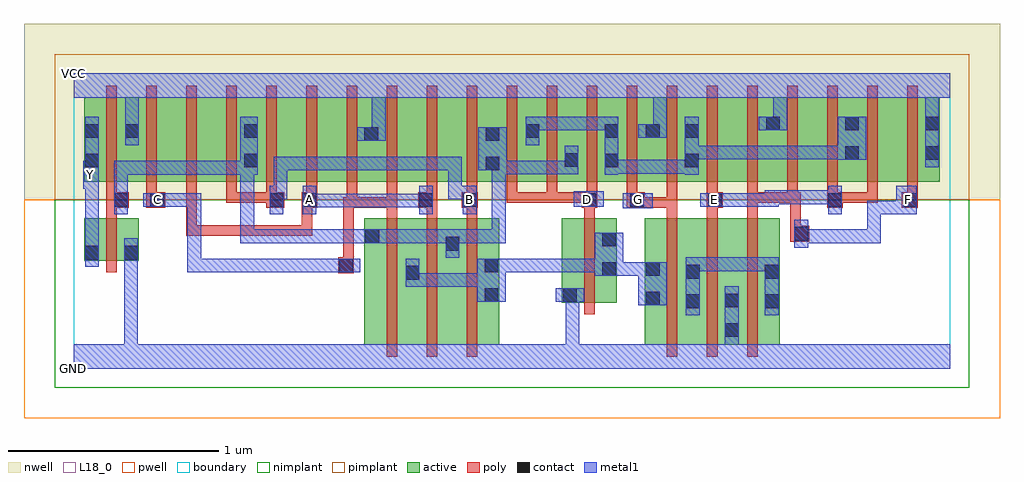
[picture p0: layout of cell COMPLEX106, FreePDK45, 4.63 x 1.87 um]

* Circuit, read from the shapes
.subckt COMPLEX106 A B C D E F G GND VCC Y
M1 GND n1 Y VSUBS nfet w=0.2u l=0.05u
M2 n2 C n1 VSUBS nfet w=0.6u l=0.05u
M3 n1 A n2 VSUBS nfet w=0.6u l=0.05u
M4 n2 B n1 VSUBS nfet w=0.6u l=0.05u
M5 n2 D GND VSUBS nfet w=0.4u l=0.05u
M6 n3 G n2 VSUBS nfet w=0.6u l=0.05u
M7 GND E n3 VSUBS nfet w=0.6u l=0.05u
M8 n3 F GND VSUBS nfet w=0.6u l=0.05u
M9 VCC n1 Y n4 pfet w=0.4u l=0.05u
M10 n5 C VCC n4 pfet w=0.4u l=0.05u
M11 n6 A n5 n4 pfet w=0.4u l=0.05u
M12 n1 B n6 n4 pfet w=0.4u l=0.05u
M13 n7 B n1 n4 pfet w=0.4u l=0.05u
M14 n8 A n7 n4 pfet w=0.4u l=0.05u
M15 VCC C n8 n4 pfet w=0.4u l=0.05u
M16 n9 C VCC n4 pfet w=0.4u l=0.05u
M17 n10 A n9 n4 pfet w=0.4u l=0.05u
M18 n1 B n10 n4 pfet w=0.4u l=0.05u
M19 n11 D n1 n4 pfet w=0.4u l=0.05u m=3
M20 VCC G n11 n4 pfet w=0.4u l=0.05u m=2
M21 n12 E n11 n4 pfet w=0.4u l=0.05u
M22 VCC F n12 n4 pfet w=0.4u l=0.05u
M23 n13 F VCC n4 pfet w=0.4u l=0.05u
M24 n11 E n13 n4 pfet w=0.4u l=0.05u
M25 n14 E n11 n4 pfet w=0.4u l=0.05u
M26 VCC F n14 n4 pfet w=0.4u l=0.05u
.ends

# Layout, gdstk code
import gdstk
lib = gdstk.Library(unit=1e-6, precision=1e-09)
def R(c, l, rs):  # rectangles x0, y0, x1, y1
    for r in rs: c.add(gdstk.rectangle(r[:2], r[2:], *l))
def A(c, l, x, y, w, h, nx, ny, dx, dy):  # array of equal rectangles
    R(c, l, [(x+i*dx, y+j*dy, x+i*dx+w, y+j*dy+h) for i in range(nx) for j in range(ny)])
active = (1, 0)
pwell = (2, 0)
nwell = (3, 0)
nimplant = (4, 0)
pimplant = (5, 0)
poly = (9, 0)
contact = (10, 0)
metal1 = (11, 0)
L18_0 = (18, 0)
boundary = (235, 0)

complex106 = lib.new_cell('COMPLEX106')
A(complex106, active, 0.465, 0.887, 0.19, 0.4, 3, 1, 0.57, 0)
R(complex106, active, [(1.38,0.112,1.645,0.712), (1.57,0.112,1.835,0.712), (1.76,0.112,2.02,0.712), (2.71,0.112,2.975,0.712), (2.9,0.112,3.16,0.712), (3.085,0.112,3.35,0.712), (1.38,0.145,1.455,0.712), (1.57,0.145,1.645,0.692), (1.76,0.145,1.835,0.692), (1.945,0.145,2.02,0.712), (2.71,0.145,2.785,0.712), (2.9,0.145,2.975,0.692), (3.085,0.145,3.16,0.692), (3.275,0.145,3.35,0.712), (2.317,0.312,2.392,0.712), (2.317,0.312,2.577,0.712), (2.502,0.312,2.577,0.712), (0.05,0.512,0.125,0.712), (0.05,0.512,0.31,0.712), (0.235,0.512,0.31,0.712), (0.05,0.887,0.315,1.287), (0.05,0.887,0.125,1.2), (0.24,0.887,0.465,1.287), (0.655,0.887,0.88,1.287), (0.805,0.887,1.035,1.287), (1.225,0.887,1.45,1.287), (1.375,0.887,1.605,1.287), (1.795,0.887,2.025,1.287), (1.95,0.887,2.215,1.287), (2.14,0.887,2.4,1.287), (2.325,0.887,2.59,1.287), (2.515,0.887,2.785,1.287), (2.71,0.887,2.97,1.287), (2.895,0.887,3.125,1.287), (3.125,0.887,3.355,1.287), (3.28,0.887,3.505,1.287), (3.505,0.887,3.73,1.287), (3.655,0.887,3.885,1.287), (3.885,0.887,4.11,1.287), (4.035,0.887,4.11,1.255), (0.24,0.907,0.315,1.255), (0.805,0.907,0.88,1.2), (1.375,0.907,1.45,1.255), (1.95,0.907,2.025,1.2), (2.14,0.907,2.215,1.2), (2.325,0.907,2.4,1.07), (2.515,0.907,2.59,1.2), (2.71,0.907,2.785,1.287), (2.895,0.907,2.97,1.2), (3.28,0.907,3.355,1.255), (3.655,0.907,3.73,1.2)])
R(complex106, pwell, [(-0.235,-0.235,4.395,0.8)])
R(complex106, nwell, [(-0.235,0.8,4.395,1.635)])
R(complex106, nimplant, [(-0.09,-0.09,4.25,0.8)])
R(complex106, pimplant, [(-0.09,0.8,4.25,1.49)])
A(complex106, poly, 1.485, 0.057, 0.05, 0.71, 3, 1, 0.19, 0)
A(complex106, poly, 2.815, 0.057, 0.05, 0.71, 3, 1, 0.19, 0)
A(complex106, poly, 1.485, 0.717, 0.05, 0.095, 3, 1, 0.19, 0)
A(complex106, poly, 0.725, 0.787, 0.05, 0.095, 3, 1, 0.19, 0)
A(complex106, poly, 1.675, 0.787, 0.05, 0.095, 6, 1, 0.19, 0)
A(complex106, poly, 3.005, 0.787, 0.05, 0.095, 6, 1, 0.19, 0)
A(complex106, poly, 0.155, 0.832, 0.05, 0.51, 21, 1, 0.19, 0)
R(complex106, poly, [(2.422,0.257,2.472,0.767), (1.255,0.452,1.33,0.527), (0.155,0.457,0.205,0.767), (1.28,0.477,1.33,0.812), (3.4,0.602,3.49,0.677), (3.4,0.627,3.45,0.837), (0.535,0.63,0.585,0.68), (0.535,0.63,0.585,0.68), (0.535,0.63,0.585,0.68), (0.535,0.63,0.585,0.68), (0.535,0.63,0.585,0.68), (0.535,0.63,0.755,0.68), (0.535,0.63,0.585,0.882), (0.705,0.63,0.755,0.68), (0.705,0.63,0.755,0.68), (0.705,0.63,0.755,0.68), (0.705,0.63,1,0.68), (0.95,0.63,1,0.68), (0.95,0.63,1,0.68), (0.95,0.63,1,0.68), (0.95,0.63,1.132,0.68), (1.082,0.63,1.132,0.68), (1.082,0.63,1.132,0.68), (1.082,0.63,1.132,0.68), (1.082,0.63,1.132,0.68), (1.082,0.63,1.132,0.68), (1.082,0.63,1.132,0.812), (0.155,0.717,0.205,0.812), (2.422,0.717,2.472,0.812), (2.815,0.717,2.865,0.812), (3.005,0.717,3.055,0.812), (3.195,0.717,3.245,0.837), (0.155,0.762,0.262,0.837), (0.345,0.762,0.435,0.837), (0.915,0.762,1,0.837), (1.082,0.762,1.157,0.837), (1.28,0.762,1.33,0.812), (1.28,0.762,1.33,0.812), (1.28,0.762,1.345,0.812), (1.295,0.762,1.535,0.812), (1.295,0.762,1.345,0.882), (1.485,0.762,1.535,0.812), (1.485,0.762,1.535,0.812), (1.485,0.762,1.535,0.812), (1.485,0.762,1.535,0.882), (1.635,0.762,1.725,0.837), (1.842,0.762,1.917,0.837), (2.41,0.762,2.485,0.837), (2.625,0.762,2.71,0.837), (2.66,0.762,2.865,0.812), (2.815,0.762,2.865,0.812), (2.815,0.762,2.865,0.812), (2.815,0.762,2.865,0.812), (2.815,0.762,2.865,0.882), (3.005,0.762,3.08,0.837), (3.575,0.762,3.65,0.837), (3.93,0.762,4.005,0.837), (0.155,0.787,0.205,0.882), (0.345,0.787,0.395,0.882), (0.725,0.787,0.775,0.837), (0.725,0.787,0.965,0.837), (0.915,0.787,0.965,0.837), (0.915,0.787,0.965,0.837), (2.055,0.787,2.105,0.837), (2.055,0.787,2.105,0.837), (2.055,0.787,2.105,0.837), (2.055,0.787,2.295,0.837), (2.245,0.787,2.46,0.837), (2.245,0.787,2.295,0.837), (2.41,0.787,2.46,0.837), (2.41,0.787,2.46,0.837), (3.195,0.787,3.245,0.837), (3.195,0.787,3.245,0.837), (3.195,0.787,3.245,0.837), (3.195,0.787,3.435,0.837), (3.385,0.787,3.45,0.837), (3.4,0.787,3.45,0.837), (3.4,0.787,3.45,0.837), (3.6,0.787,3.815,0.837), (3.6,0.787,3.65,0.837), (3.6,0.787,3.65,0.837), (3.765,0.787,3.815,0.837)])
R(complex106, contact, [(3.09,0.15,3.155,0.215), (2.905,0.287,2.97,0.352), (3.28,0.287,3.345,0.352), (3.09,0.29,3.155,0.355), (2.715,0.3,2.78,0.365), (1.95,0.317,2.015,0.382), (2.322,0.317,2.387,0.382), (1.575,0.422,1.64,0.487), (2.905,0.427,2.97,0.492), (3.28,0.427,3.345,0.492), (2.507,0.44,2.572,0.505), (2.715,0.44,2.78,0.505), (1.26,0.457,1.325,0.522), (1.95,0.457,2.015,0.522), (0.055,0.517,0.12,0.582), (0.24,0.517,0.305,0.582), (1.765,0.56,1.83,0.625), (2.507,0.58,2.572,0.645), (1.385,0.595,1.45,0.66), (3.42,0.607,3.485,0.672), (0.192,0.767,0.257,0.832), (0.365,0.767,0.43,0.832), (0.93,0.767,0.995,0.832), (1.087,0.767,1.152,0.832), (1.64,0.767,1.705,0.832), (1.847,0.767,1.912,0.832), (2.415,0.767,2.48,0.832), (2.64,0.767,2.705,0.832), (3.01,0.767,3.075,0.832), (3.58,0.767,3.645,0.832), (3.935,0.767,4,0.832), (1.955,0.94,2.02,1.005), (0.055,0.955,0.12,1.02), (0.81,0.955,0.875,1.02), (2.52,0.955,2.585,1.02), (2.9,0.955,2.965,1.02), (2.33,0.957,2.395,1.022), (3.66,0.99,3.725,1.055), (4.04,0.99,4.105,1.055), (1.38,1.08,1.445,1.145), (1.955,1.08,2.02,1.145), (0.055,1.095,0.12,1.16), (0.245,1.095,0.31,1.16), (0.81,1.095,0.875,1.16), (2.145,1.095,2.21,1.16), (2.52,1.095,2.585,1.16), (2.715,1.095,2.78,1.16), (2.9,1.095,2.965,1.16), (3.285,1.13,3.35,1.195), (3.66,1.13,3.725,1.195), (4.04,1.13,4.105,1.195)])
R(complex106, metal1, [(0,0,4.16,0.115), (0.24,0.05,0.305,0.115), (0.24,0.05,0.305,0.115), (0.24,0.05,0.305,0.115), (0.24,0.05,0.305,0.115), (0.24,0.05,0.305,0.115), (0.24,0.05,0.305,0.115), (0.24,0.05,0.305,0.115), (0.24,0.05,0.305,0.115), (0.24,0.05,0.305,0.547), (2.335,0.05,2.4,0.115), (2.335,0.05,2.4,0.115), (2.335,0.05,2.4,0.115), (2.335,0.05,2.4,0.115), (2.335,0.05,2.4,0.382), (3.09,0.05,3.155,0.18), (3.09,0.115,3.155,0.39), (3.09,0.115,3.155,0.18), (3.09,0.115,3.155,0.18), (2.905,0.252,2.97,0.527), (3.28,0.252,3.345,0.527), (2.68,0.3,2.815,0.505), (1.915,0.317,2.05,0.522), (2.287,0.317,2.422,0.382), (1.575,0.387,1.64,0.452), (1.575,0.387,1.64,0.452), (1.575,0.387,1.64,0.522), (1.575,0.387,1.842,0.452), (1.777,0.387,1.842,0.452), (1.777,0.387,1.842,0.452), (1.777,0.387,1.842,0.452), (1.777,0.387,1.98,0.452), (2.472,0.44,2.607,0.645), (2.542,0.44,2.607,0.505), (2.542,0.44,2.607,0.505), (2.542,0.44,2.745,0.505), (0.54,0.457,0.605,0.522), (0.54,0.457,0.605,0.522), (0.54,0.457,0.605,0.522), (0.54,0.457,0.757,0.522), (0.54,0.457,0.605,0.832), (0.692,0.457,0.757,0.522), (0.692,0.457,0.757,0.522), (0.692,0.457,0.757,0.522), (0.692,0.457,1.015,0.522), (0.95,0.457,1.015,0.522), (0.95,0.457,1.015,0.522), (0.95,0.457,1.015,0.522), (0.95,0.457,1.152,0.522), (1.087,0.457,1.152,0.522), (1.087,0.457,1.152,0.522), (1.087,0.457,1.152,0.522), (1.087,0.457,1.29,0.522), (1.225,0.457,1.36,0.522), (1.985,0.457,2.05,0.522), (1.985,0.457,2.05,0.522), (1.985,0.457,2.192,0.522), (2.127,0.457,2.192,0.522), (2.127,0.457,2.192,0.522), (2.127,0.457,2.192,0.522), (2.127,0.457,2.192,0.522), (2.127,0.457,2.192,0.522), (2.127,0.457,2.4,0.522), (2.335,0.457,2.4,0.522), (2.335,0.457,2.4,0.522), (2.335,0.457,2.4,0.522), (2.335,0.457,2.537,0.522), (2.905,0.462,3.177,0.527), (3.112,0.462,3.177,0.527), (3.112,0.462,3.177,0.527), (3.112,0.462,3.177,0.527), (3.112,0.462,3.345,0.527), (3.28,0.462,3.345,0.527), (3.28,0.462,3.345,0.527), (0.055,0.482,0.12,0.617), (0.24,0.482,0.305,0.617), (1.765,0.525,1.83,0.66), (0.055,0.552,0.12,0.917), (3.42,0.572,3.485,0.707), (0.792,0.595,0.857,0.66), (0.792,0.595,0.857,0.66), (0.792,0.595,0.857,0.66), (0.792,0.595,1.015,0.66), (0.792,0.595,0.857,0.985), (0.95,0.595,1.015,0.66), (0.95,0.595,1.015,0.66), (0.95,0.595,1.015,0.66), (0.95,0.595,1.152,0.66), (1.087,0.595,1.152,0.66), (1.087,0.595,1.152,0.66), (1.087,0.595,1.152,0.66), (1.087,0.595,1.29,0.66), (1.225,0.595,1.29,0.66), (1.225,0.595,1.415,0.66), (1.35,0.595,1.485,0.66), (1.42,0.595,1.485,0.66), (1.42,0.595,1.485,0.66), (1.42,0.595,1.692,0.66), (1.627,0.595,1.692,0.66), (1.627,0.595,1.692,0.66), (1.627,0.595,1.692,0.66), (1.627,0.595,1.83,0.66), (1.765,0.595,1.912,0.66), (1.847,0.595,1.912,0.66), (1.847,0.595,2.05,0.66), (1.985,0.595,2.05,0.66), (1.985,0.595,2.05,0.66), (1.985,0.595,2.05,0.66), (1.985,0.595,2.05,1.005), (3.42,0.595,3.485,0.66), (3.42,0.595,3.485,0.66), (3.42,0.595,3.485,0.66), (3.42,0.595,3.485,0.66), (3.42,0.595,3.692,0.66), (3.627,0.595,3.692,0.66), (3.627,0.595,3.83,0.66), (3.765,0.595,3.83,0.66), (3.765,0.595,3.83,0.797), (0.192,0.732,0.257,0.867), (0.93,0.732,0.995,0.867), (1.087,0.732,1.152,0.867), (1.64,0.732,1.705,0.867), (1.847,0.732,1.912,0.867), (3.58,0.732,3.645,0.867), (3.765,0.732,3.83,0.797), (3.765,0.732,3.83,0.797), (3.765,0.732,3.83,0.797), (3.765,0.732,3.967,0.797), (3.902,0.732,3.967,0.797), (3.902,0.732,3.967,0.797), (3.902,0.732,4,0.867), (2.605,0.76,2.747,0.832), (1.087,0.765,1.152,0.83), (1.087,0.765,1.152,0.83), (1.087,0.765,1.29,0.83), (1.225,0.765,1.29,0.83), (1.225,0.765,1.29,0.83), (1.225,0.765,1.29,0.83), (1.225,0.765,1.497,0.83), (1.432,0.765,1.497,0.83), (1.432,0.765,1.692,0.83), (1.627,0.765,1.692,0.83), (1.627,0.765,1.705,0.83), (0.33,0.767,0.467,0.832), (0.402,0.767,0.467,0.832), (0.402,0.767,0.467,0.832), (0.402,0.767,0.605,0.832), (0.54,0.767,0.605,0.832), (0.54,0.767,0.605,0.832), (0.54,0.767,0.605,0.832), (2.372,0.767,2.515,0.84), (2.972,0.767,3.11,0.832), (3.045,0.767,3.12,0.832), (3.055,0.767,3.12,0.832), (3.055,0.767,3.345,0.832), (3.28,0.767,3.345,0.845), (3.28,0.78,3.345,0.845), (3.28,0.78,3.345,0.845), (3.28,0.78,3.507,0.845), (3.442,0.78,3.507,0.845), (3.442,0.78,3.507,0.845), (3.442,0.78,3.507,0.845), (3.442,0.78,3.645,0.845), (0.192,0.802,0.257,0.867), (0.192,0.802,0.257,0.867), (0.192,0.802,0.257,0.985), (0.93,0.802,1.015,0.867), (0.95,0.802,1.015,0.867), (0.95,0.802,1.015,1.005), (1.777,0.802,1.842,0.867), (1.777,0.802,1.912,0.867), (1.777,0.802,1.842,1.005), (0.047,0.852,0.12,0.987), (0.055,0.92,0.12,1.195), (0.055,0.92,0.12,0.985), (0.192,0.92,0.257,0.985), (0.192,0.92,0.467,0.985), (0.402,0.92,0.467,0.985), (0.402,0.92,0.467,0.985), (0.402,0.92,0.467,0.985), (0.402,0.92,0.605,0.985), (0.54,0.92,0.605,0.985), (0.54,0.92,0.605,0.985), (0.54,0.92,0.605,0.985), (0.54,0.92,0.857,0.985), (0.792,0.92,0.857,0.985), (0.792,0.92,0.857,0.985), (0.792,0.92,0.875,1.195), (2.52,0.92,2.585,1.195), (2.52,0.92,2.585,0.985), (2.52,0.92,2.585,0.985), (2.52,0.92,2.585,0.985), (2.52,0.92,2.585,0.99), (2.9,0.92,2.965,1.195), (1.99,0.922,2.215,0.987), (1.99,0.922,2.055,1.005), (2.15,0.922,2.215,0.987), (2.15,0.922,2.215,0.987), (2.15,0.922,2.215,0.987), (2.15,0.922,2.395,0.987), (2.33,0.922,2.395,1.057), (2.52,0.925,2.827,0.99), (2.762,0.925,2.827,0.99), (2.762,0.925,2.827,0.99), (2.762,0.925,2.827,0.99), (2.762,0.925,2.965,0.99), (0.95,0.94,1.015,1.005), (0.95,0.94,1.152,1.005), (1.087,0.94,1.152,1.005), (1.087,0.94,1.152,1.005), (1.087,0.94,1.152,1.005), (1.087,0.94,1.347,1.005), (1.282,0.94,1.347,1.005), (1.282,0.94,1.347,1.005), (1.282,0.94,1.347,1.005), (1.282,0.94,1.497,1.005), (1.432,0.94,1.497,1.005), (1.432,0.94,1.692,1.005), (1.627,0.94,1.692,1.005), (1.627,0.94,1.692,1.005), (1.627,0.94,1.692,1.005), (1.627,0.94,1.842,1.005), (1.777,0.94,1.842,1.005), (1.92,0.94,2.055,1.145), (1.99,0.94,2.055,1.005), (4.04,0.955,4.105,1.23), (3.625,0.99,3.76,1.195), (2.9,0.992,2.965,1.057), (2.9,0.992,3.107,1.057), (3.042,0.992,3.107,1.057), (3.042,0.992,3.107,1.057), (3.042,0.992,3.345,1.057), (3.28,0.992,3.345,1.057), (3.28,0.992,3.345,1.057), (3.28,0.992,3.345,1.057), (3.28,0.992,3.482,1.057), (3.417,0.992,3.482,1.057), (3.417,0.992,3.482,1.057), (3.417,0.992,3.482,1.057), (3.417,0.992,3.69,1.057), (3.625,0.992,3.69,1.057), (3.625,0.992,3.69,1.057), (0.245,1.06,0.31,1.195), (2.145,1.06,2.21,1.195), (1.345,1.08,1.48,1.145), (1.415,1.08,1.48,1.35), (2.68,1.095,2.815,1.16), (2.75,1.095,2.815,1.35), (0.245,1.13,0.31,1.35), (2.145,1.13,2.21,1.195), (2.145,1.13,2.21,1.195), (2.145,1.13,2.352,1.195), (2.287,1.13,2.352,1.195), (2.287,1.13,2.352,1.195), (2.287,1.13,2.352,1.195), (2.287,1.13,2.585,1.195), (3.25,1.13,3.385,1.195), (3.32,1.13,3.385,1.35), (4.04,1.165,4.105,1.35), (0,1.285,4.16,1.4)])
R(complex106, L18_0, [(0,0,4.16,0.115), (0.24,0.05,0.305,0.115), (0.24,0.05,0.305,0.115), (0.24,0.05,0.305,0.115), (0.24,0.05,0.305,0.115), (0.24,0.05,0.305,0.115), (0.24,0.05,0.305,0.115), (0.24,0.05,0.305,0.115), (0.24,0.05,0.305,0.115), (0.24,0.05,0.305,0.547), (2.335,0.05,2.4,0.115), (2.335,0.05,2.4,0.115), (2.335,0.05,2.4,0.115), (2.335,0.05,2.4,0.115), (2.335,0.05,2.4,0.382), (3.09,0.05,3.155,0.18), (3.09,0.115,3.155,0.39), (3.09,0.115,3.155,0.18), (3.09,0.115,3.155,0.18), (2.287,0.317,2.422,0.382), (0.54,0.457,0.605,0.522), (0.54,0.457,0.605,0.522), (0.54,0.457,0.605,0.522), (0.54,0.457,0.605,0.832), (0.54,0.457,0.757,0.522), (0.692,0.457,0.757,0.522), (0.692,0.457,0.757,0.522), (0.692,0.457,0.757,0.522), (0.692,0.457,1.015,0.522), (0.95,0.457,1.015,0.522), (0.95,0.457,1.015,0.522), (0.95,0.457,1.015,0.522), (0.95,0.457,1.152,0.522), (1.087,0.457,1.152,0.522), (1.087,0.457,1.152,0.522), (1.087,0.457,1.152,0.522), (1.087,0.457,1.29,0.522), (1.225,0.457,1.36,0.522), (0.055,0.482,0.12,0.617), (0.24,0.482,0.305,0.617), (0.055,0.552,0.12,0.917), (3.42,0.572,3.485,0.707), (3.42,0.595,3.485,0.66), (3.42,0.595,3.485,0.66), (3.42,0.595,3.485,0.66), (3.42,0.595,3.485,0.66), (3.42,0.595,3.692,0.66), (3.627,0.595,3.692,0.66), (3.627,0.595,3.83,0.66), (3.765,0.595,3.83,0.66), (3.765,0.595,3.83,0.797), (0.93,0.732,0.995,0.867), (1.087,0.732,1.152,0.867), (1.64,0.732,1.705,0.867), (1.847,0.732,1.912,0.867), (3.58,0.732,3.645,0.867), (3.765,0.732,3.83,0.797), (3.765,0.732,3.83,0.797), (3.765,0.732,3.83,0.797), (3.765,0.732,3.967,0.797), (3.902,0.732,3.967,0.797), (3.902,0.732,3.967,0.797), (3.902,0.732,4,0.867), (2.605,0.76,2.747,0.832), (1.087,0.765,1.152,0.83), (1.087,0.765,1.152,0.83), (1.087,0.765,1.29,0.83), (1.225,0.765,1.29,0.83), (1.225,0.765,1.29,0.83), (1.225,0.765,1.29,0.83), (1.225,0.765,1.497,0.83), (1.432,0.765,1.497,0.83), (1.432,0.765,1.692,0.83), (1.627,0.765,1.692,0.83), (1.627,0.765,1.705,0.83), (0.33,0.767,0.467,0.832), (0.367,0.767,0.432,0.832), (0.402,0.767,0.467,0.832), (0.402,0.767,0.467,0.832), (0.402,0.767,0.605,0.832), (0.54,0.767,0.605,0.832), (0.54,0.767,0.605,0.832), (0.54,0.767,0.605,0.832), (1.087,0.767,1.152,0.832), (1.847,0.767,1.912,0.832), (2.372,0.767,2.515,0.84), (2.407,0.767,2.472,0.832), (2.647,0.767,2.712,0.832), (2.972,0.767,3.11,0.832), (3.007,0.767,3.072,0.832), (3.045,0.767,3.12,0.832), (3.055,0.767,3.12,0.832), (3.055,0.767,3.345,0.832), (3.28,0.767,3.345,0.845), (3.927,0.767,3.992,0.832), (3.28,0.78,3.345,0.845), (3.28,0.78,3.345,0.845), (3.28,0.78,3.507,0.845), (3.442,0.78,3.507,0.845), (3.442,0.78,3.507,0.845), (3.442,0.78,3.507,0.845), (3.442,0.78,3.645,0.845), (0.93,0.802,1.015,0.867), (0.95,0.802,1.015,0.867), (0.95,0.802,1.015,1.005), (1.777,0.802,1.842,0.867), (1.777,0.802,1.842,1.005), (1.777,0.802,1.912,0.867), (0.047,0.852,0.12,0.987), (0.047,0.887,0.112,0.952), (0.055,0.92,0.12,1.195), (0.055,0.92,0.12,0.985), (0.95,0.94,1.015,1.005), (0.95,0.94,1.152,1.005), (1.087,0.94,1.152,1.005), (1.087,0.94,1.152,1.005), (1.087,0.94,1.152,1.005), (1.087,0.94,1.347,1.005), (1.282,0.94,1.347,1.005), (1.282,0.94,1.347,1.005), (1.282,0.94,1.347,1.005), (1.282,0.94,1.497,1.005), (1.432,0.94,1.497,1.005), (1.432,0.94,1.692,1.005), (1.627,0.94,1.692,1.005), (1.627,0.94,1.692,1.005), (1.627,0.94,1.692,1.005), (1.627,0.94,1.842,1.005), (1.777,0.94,1.842,1.005), (4.04,0.955,4.105,1.23), (0.245,1.06,0.31,1.195), (1.345,1.08,1.48,1.145), (1.415,1.08,1.48,1.35), (2.68,1.095,2.815,1.16), (2.75,1.095,2.815,1.35), (0.245,1.13,0.31,1.35), (3.25,1.13,3.385,1.195), (3.32,1.13,3.385,1.35), (4.04,1.165,4.105,1.35), (0,1.285,4.16,1.4)])
R(complex106, boundary, [(0,0,4.16,1.4)])
complex106.add(gdstk.Label('A', (1.12,0.8), layer=11, texttype=0))
complex106.add(gdstk.Label('B', (1.88,0.8), layer=11, texttype=0))
complex106.add(gdstk.Label('C', (0.4,0.8), layer=11, texttype=0))
complex106.add(gdstk.Label('D', (2.44,0.8), layer=11, texttype=0))
complex106.add(gdstk.Label('E', (3.04,0.8), layer=11, texttype=0))
complex106.add(gdstk.Label('F', (3.96,0.8), layer=11, texttype=0))
complex106.add(gdstk.Label('G', (2.68,0.8), layer=11, texttype=0))
complex106.add(gdstk.Label('Y', (0.08,0.92), layer=11, texttype=0))
complex106.add(gdstk.Label('VCC', (0,1.4), layer=11, texttype=0))
complex106.add(gdstk.Label('GND', (0,0), layer=11, texttype=0))

lib.write_gds('COMPLEX106.gds')
